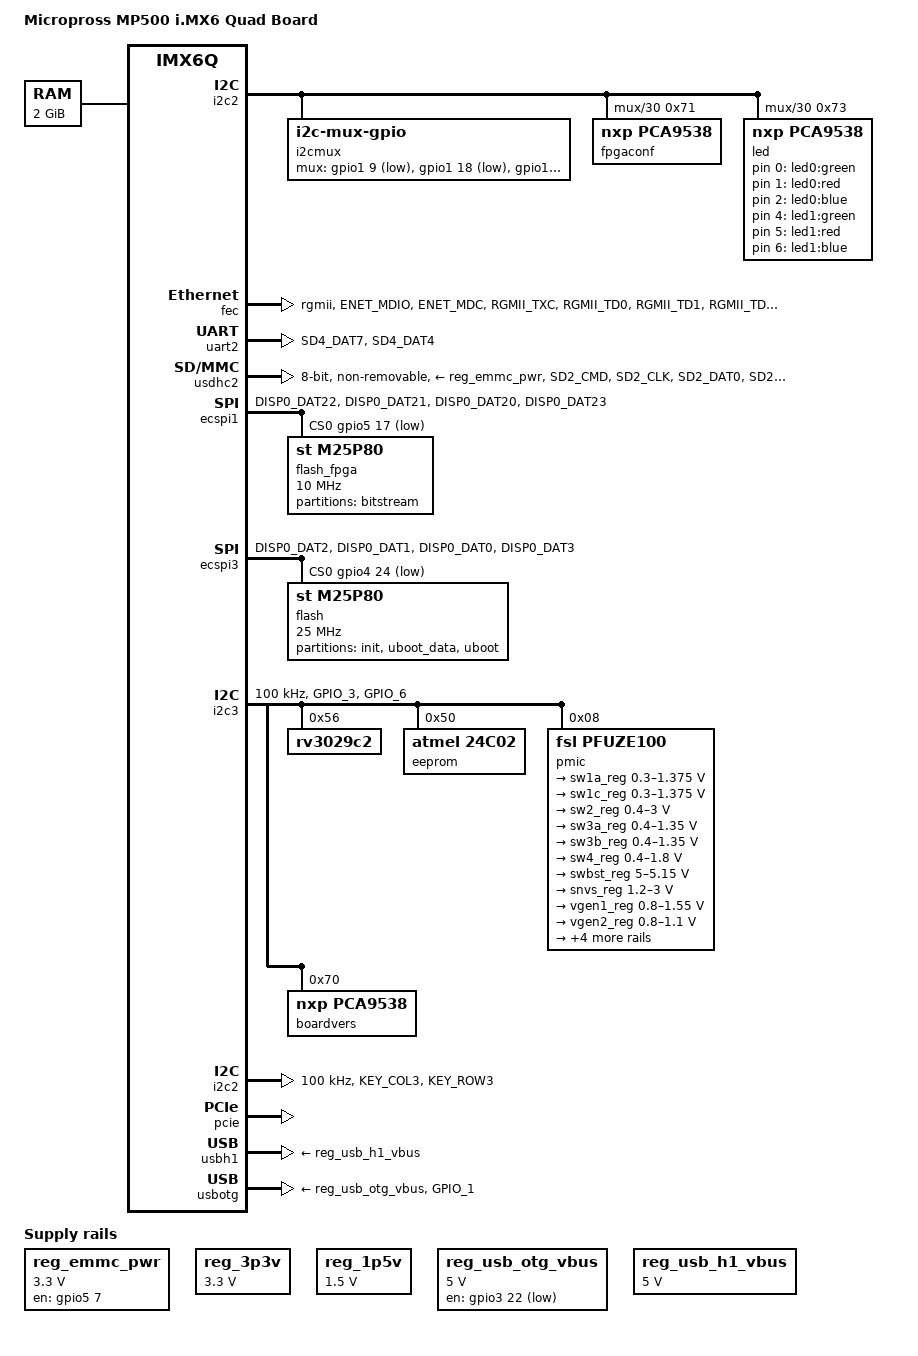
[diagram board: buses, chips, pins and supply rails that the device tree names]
// SPDX-License-Identifier: GPL-2.0+

/dts-v1/;

#include "imx6q.dtsi"

#include <dt-bindings/clock/imx6qdl-clock.h>
#include <dt-bindings/gpio/gpio.h>
#include <dt-bindings/input/input.h>

/ {
	model = "Micropross MP500 i.MX6 Quad Board";
	compatible = "fsl,imx6q-mp500", "fsl,imx6q";

	chosen {
		stdout-path = &uart2;
	};

	memory@10000000 {
		device_type = "memory";
		reg = <0x10000000 0x80000000>;
	};

	reg_emmc_pwr: regulator-emmc-pwr {
		compatible = "regulator-fixed";
		gpio = <&gpio5 7 GPIO_ACTIVE_LOW>;
		enable-active-high;
		regulator-name = "EMMC_PWR";
		regulator-min-microvolt = <3300000>;
		regulator-max-microvolt = <3300000>;
		regulator-boot-on;
	};

	reg_3p3v: regulator-3p3v {
		compatible = "regulator-fixed";
		regulator-name = "3P3V";
		regulator-min-microvolt = <3300000>;
		regulator-max-microvolt = <3300000>;
		regulator-always-on;
	};

	reg_1p5v: 1p5v {
			compatible = "regulator-fixed";
			regulator-name = "1P5V";
			regulator-min-microvolt = <1500000>;
			regulator-max-microvolt = <1500000>;
			regulator-always-on;
		};


	reg_usb_otg_vbus: regulator-usbotgvbus {
		compatible = "regulator-fixed";
		regulator-name = "usb_otg_vbus";
		regulator-min-microvolt = <5000000>;
		regulator-max-microvolt = <5000000>;
		pinctrl-names = "default";
		pinctrl-0 = <&pinctrl_usbotgvbus>;
		gpio = <&gpio3 22 GPIO_ACTIVE_LOW>;
	};

	reg_usb_h1_vbus: usb_h1_vbus {
			compatible = "regulator-fixed";
			regulator-name = "usb_h1_vbus";
			regulator-min-microvolt = <5000000>;
			regulator-max-microvolt = <5000000>;
			regulator-always-on;
	};

	leds {
		compatible = "gpio-leds";

		led0-green {
			label = "led0:green";
			gpios = <&led 0 GPIO_ACTIVE_HIGH>;
			default-state = "off";
		};

		led0-red {
			label = "led0:red";
			gpios = <&led 1 GPIO_ACTIVE_HIGH>;
			default-state = "on";
		};

		led0-blue {
			label = "led0:blue";
			gpios = <&led 2 GPIO_ACTIVE_HIGH>;
			default-state = "off";
		};

		led1-green {
			label = "led1:green";
			gpios = <&led 4 GPIO_ACTIVE_HIGH>;
			default-state = "off";
		};

		led1-red {
			label = "led1:red";
			gpios = <&led 5 GPIO_ACTIVE_HIGH>;
			default-state = "on";
		};

		led1-blue {
			label = "led1:blue";
			gpios = <&led 6 GPIO_ACTIVE_HIGH>;
			default-state = "off";
		};

	};

	i2cmux {
		compatible = "i2c-mux-gpio";
		#address-cells = <1>;
		#size-cells = <0>;
		mux-gpios = <&gpio1  9 GPIO_ACTIVE_LOW /* Q7_I2C */
		&gpio1 18 GPIO_ACTIVE_LOW /* LVDS0 */
		&gpio1 19 GPIO_ACTIVE_LOW /* LVDS1 */
		&gpio1 16 GPIO_ACTIVE_LOW /* HDMI */
		&gpio1 17 GPIO_ACTIVE_LOW>; /* X3 */
		i2c-parent = <&i2c2>;
		idle-state = <0x1f>;

		i2c-q7@1e {
			#address-cells = <1>;
			#size-cells = <0>;
			reg = <0x1e>;

			fpgaconf: gpio@71 {
				compatible = "nxp,pca9538";
				reg = <0x71>;

				gpio-controller;
				#gpio-cells = <2>;
			};

			led: gpio@73 {
				compatible = "nxp,pca9538";
				reg = <0x73>;

				gpio-controller;
				#gpio-cells = <2>;
			};
		};

		i2c-lvds0 {
			reg = <0x1d>;
		};

		i2c-lvds1 {
			reg = <0x1b>;
		};

		i2c-hdmi {
			reg = <0x17>;
		};
	};
};

&fec {
	pinctrl-names = "default";
	pinctrl-0 = <&pinctrl_enet>;
	phy-mode = "rgmii";
	phy-reset-gpios = <&gpio1 25 GPIO_ACTIVE_LOW>;
	status = "okay";
};

&iomuxc {
	pinctrl-names = "default";

	imx6q-mp500 {

		pinctrl_enet: enetgrp {
			fsl,pins = <
				MX6QDL_PAD_ENET_MDIO__ENET_MDIO		0x1b0b0
				MX6QDL_PAD_ENET_MDC__ENET_MDC		0x1b0b0
				MX6QDL_PAD_RGMII_TXC__RGMII_TXC		0x1b030
				MX6QDL_PAD_RGMII_TD0__RGMII_TD0		0x1b030
				MX6QDL_PAD_RGMII_TD1__RGMII_TD1		0x1b030
				MX6QDL_PAD_RGMII_TD2__RGMII_TD2		0x1b030
				MX6QDL_PAD_RGMII_TD3__RGMII_TD3		0x1b030
				MX6QDL_PAD_RGMII_TX_CTL__RGMII_TX_CTL	0x1b030
				MX6QDL_PAD_ENET_REF_CLK__ENET_TX_CLK	0x1b0b0
				MX6QDL_PAD_RGMII_RXC__RGMII_RXC		0x1b030
				MX6QDL_PAD_RGMII_RD0__RGMII_RD0		0x1b030
				MX6QDL_PAD_RGMII_RD1__RGMII_RD1		0x1b030
				MX6QDL_PAD_RGMII_RD2__RGMII_RD2		0x1b030
				MX6QDL_PAD_RGMII_RD3__RGMII_RD3		0x1b030
				MX6QDL_PAD_RGMII_RX_CTL__RGMII_RX_CTL	0x1b030
				MX6QDL_PAD_GPIO_16__ENET_REF_CLK	0x4001b0a8
			>;
		};

		pinctrl_usbotg_1: usbotggrp {
			fsl,pins = <
				MX6QDL_PAD_GPIO_1__USB_OTG_ID		0x17059
			>;
		};

		pinctrl_usbotgvbus: usbotgvbusgrp {
			fsl,pins = <
				MX6QDL_PAD_EIM_D22__GPIO3_IO22		0x130b0
			>;
		};

		pinctrl_uart2: uart2grp {
			fsl,pins = <
				MX6QDL_PAD_SD4_DAT7__UART2_TX_DATA	0x1b0b1
				MX6QDL_PAD_SD4_DAT4__UART2_RX_DATA	0x1b0b1
			>;
		};

		pinctrl_usdhc2: usdhc2grp {
			fsl,pins = <
				MX6QDL_PAD_SD2_CMD__SD2_CMD		0x17059
				MX6QDL_PAD_SD2_CLK__SD2_CLK		0x10059
				MX6QDL_PAD_SD2_DAT0__SD2_DATA0		0x17059
				MX6QDL_PAD_SD2_DAT1__SD2_DATA1		0x17059
				MX6QDL_PAD_SD2_DAT2__SD2_DATA2		0x17059
				MX6QDL_PAD_SD2_DAT3__SD2_DATA3		0x17059
				MX6QDL_PAD_NANDF_D4__SD2_DATA4		0x17059
				MX6QDL_PAD_NANDF_D5__SD2_DATA5		0x17059
				MX6QDL_PAD_NANDF_D6__SD2_DATA6		0x17059
				MX6QDL_PAD_NANDF_D7__SD2_DATA7		0x17059
			>;
		};

		pinctrl_ecspi1: ecspi1grp {
			fsl,pins = <
				MX6QDL_PAD_DISP0_DAT22__ECSPI1_MISO	0x100b1
				MX6QDL_PAD_DISP0_DAT21__ECSPI1_MOSI	0x100b1
				MX6QDL_PAD_DISP0_DAT20__ECSPI1_SCLK	0x100b1
				MX6QDL_PAD_DISP0_DAT23__GPIO5_IO17	0x1b0b1
			>;
		};

		pinctrl_ecspi3: ecspi3grp {
			fsl,pins = <
				MX6QDL_PAD_DISP0_DAT2__ECSPI3_MISO	0x100b1
				MX6QDL_PAD_DISP0_DAT1__ECSPI3_MOSI	0x100b1
				MX6QDL_PAD_DISP0_DAT0__ECSPI3_SCLK	0x100b1
				MX6QDL_PAD_DISP0_DAT3__GPIO4_IO24	0x1b0b1
			>;
		};

		pinctrl_i2c2: i2c2grp {
			fsl,pins = <
				MX6QDL_PAD_KEY_COL3__I2C2_SCL	0x4001b8b1
				MX6QDL_PAD_KEY_ROW3__I2C2_SDA	0x4001b8b1
			>;
		};

		pinctrl_i2c3: i2c3grp {
			fsl,pins = <
				MX6QDL_PAD_GPIO_3__I2C3_SCL	0x4001b8b1
				MX6QDL_PAD_GPIO_6__I2C3_SDA	0x4001b8b1
			>;
		};
	};

};

&uart2 {
	pinctrl-names = "default";
	pinctrl-0 = <&pinctrl_uart2>;
	status = "okay";
};

&usdhc2 {
	pinctrl-names = "default";
	pinctrl-0 = <&pinctrl_usdhc2>;
	bus-width = <8>;
	vmmc-supply = <&reg_emmc_pwr>;
	non-removable;
	status = "okay";
};

&ecspi1 {
	fsl,spi-num-chipselects = <1>;
	cs-gpios = <&gpio5 17 GPIO_ACTIVE_LOW>;
	pinctrl-names = "default";
	pinctrl-0 = <&pinctrl_ecspi1>;

	status = "okay";

	flash_fpga: m25p80@0 {
		compatible = "st,m25p80";
		spi-max-frequency = <10000000>;
		reg = <0>;
		#address-cells = <1>;
		#size-cells = <1>;

		partition@0 {
			label = "bitstream";
			reg = <0x0 0x1000000>;
		};

	};
};

&ecspi3 {
	fsl,spi-num-chipselects = <1>;
	cs-gpios = <&gpio4 24 GPIO_ACTIVE_LOW>;
	pinctrl-names = "default";
	pinctrl-0 = <&pinctrl_ecspi3>;

	status = "okay";

	flash: m25p80@0 {
		compatible = "st,m25p80";
		spi-max-frequency = <25000000>;
		reg = <0>;
		#address-cells = <1>;
		#size-cells = <1>;

		partition@0 {
			label = "init";
			reg = <0x0 0x90000>;
			read-only;
		};
		partition@90000 {
			label = "uboot_data";
			reg = <0x90000 0xc0000>;
			read-only;
		};
		partition@150000 {
			label = "uboot";
			reg = <0x150000 0xc0000>;
			read-only;
		};

	};
};

&i2c3 {
	clock-frequency = <100000>;
	pinctrl-names = "default";
	pinctrl-0 = <&pinctrl_i2c3>;
	status = "okay";

	rv3029c2@56 {
		compatible = "rv3029c2";
		reg = <0x56>;
	};

	eeprom@50 {
		compatible = "atmel,24c02";
		reg = <0x50>;
	};

	pmic: pfuze100@08 {
		compatible = "fsl,pfuze100";
		reg = <0x08>;

		regulators {
			sw1a_reg: sw1ab {
				regulator-min-microvolt = <300000>;
				regulator-max-microvolt = <1375000>;
				regulator-boot-on;
				regulator-always-on;
				regulator-ramp-delay = <6250>;
			};

			sw1c_reg: sw1c {
				regulator-min-microvolt = <300000>;
				regulator-max-microvolt = <1375000>;
				regulator-boot-on;
				regulator-always-on;
				regulator-ramp-delay = <6250>;
			};

			sw2_reg: sw2 {
				regulator-min-microvolt = <400000>;
				regulator-max-microvolt = <3000000>;
				regulator-boot-on;
				regulator-always-on;
			};

			sw3a_reg: sw3a {
				regulator-min-microvolt = <400000>;
				regulator-max-microvolt = <1350000>;
				regulator-boot-on;
				regulator-always-on;
			};

			sw3b_reg: sw3b {
				regulator-min-microvolt = <400000>;
				regulator-max-microvolt = <1350000>;
				regulator-boot-on;
				regulator-always-on;
			};

			sw4_reg: sw4 {
				regulator-min-microvolt = <400000>;
				regulator-max-microvolt = <1800000>;
			};

			swbst_reg: swbst {
				regulator-min-microvolt = <5000000>;
				regulator-max-microvolt = <5150000>;
			};

			snvs_reg: vsnvs {
				regulator-min-microvolt = <1200000>;
				regulator-max-microvolt = <3000000>;
				regulator-boot-on;
				regulator-always-on;
			};

			vref_reg: vrefddr {
				regulator-boot-on;
				regulator-always-on;
			};

			vgen1_reg: vgen1 {
				regulator-min-microvolt = <800000>;
				regulator-max-microvolt = <1550000>;
			};

			vgen2_reg: vgen2 {
				regulator-min-microvolt = <800000>;
				regulator-max-microvolt = <1100000>;
			};

			vgen3_reg: vgen3 {
				regulator-min-microvolt = <1800000>;
				regulator-max-microvolt = <3300000>;
			};

			vgen4_reg: vgen4 {
				regulator-min-microvolt = <1800000>;
				regulator-max-microvolt = <3300000>;
				regulator-always-on;
			};

			vgen5_reg: vgen5 {
				regulator-min-microvolt = <2800000>;
				regulator-max-microvolt = <2800000>;
				regulator-always-on;
			};

			vgen6_reg: vgen6 {
				regulator-min-microvolt = <2800000>;
				regulator-max-microvolt = <2800000>;
				regulator-always-on;
			};
		};
	};

	boardvers: gpio@70 {
		compatible = "nxp,pca9538";
		reg = <0x70>;

		gpio-controller;
		#gpio-cells = <2>;
	};

};

&i2c2 {
	clock-frequency = <100000>;
	pinctrl-names = "default";
	pinctrl-0 = <&pinctrl_i2c2>;
	status = "okay";
};

&pcie {
	status = "okay";
};

&usbh1 {
	vbus-supply = <&reg_usb_h1_vbus>;
	status = "okay";
};

&usbotg {
	vbus-supply = <&reg_usb_otg_vbus>;
	pinctrl-names = "default";
	pinctrl-0 = <&pinctrl_usbotg_1>;
	status = "okay";
};
